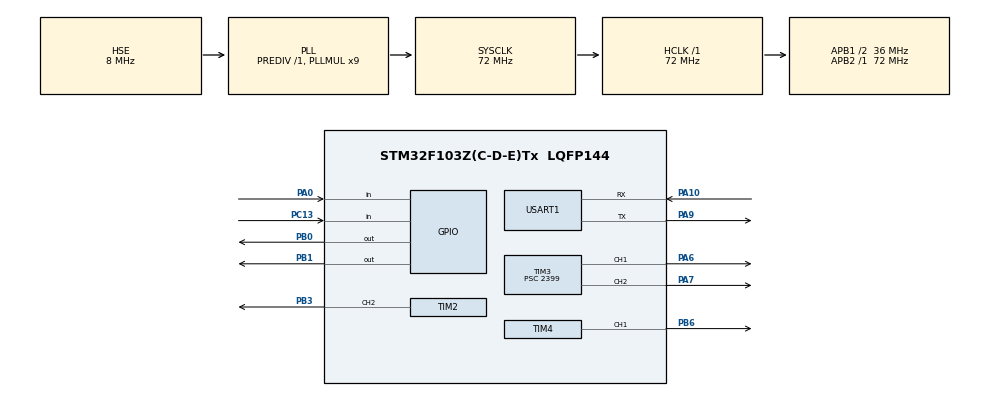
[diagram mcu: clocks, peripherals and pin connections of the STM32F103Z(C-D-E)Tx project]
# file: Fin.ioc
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Mcu.Family=STM32F1
Mcu.Name=STM32F103Z(C-D-E)Tx
Mcu.Package=LQFP144
NVIC.PriorityGroup=NVIC_PRIORITYGROUP_4
NVIC.TIM2_IRQn=true\:0\:0\:false\:false\:true\:true\:true\:true
NVIC.TIM3_IRQn=true\:0\:0\:false\:false\:true\:true\:true\:true
NVIC.TIM4_IRQn=true\:0\:0\:false\:false\:true\:true\:true\:true
OSC_IN.Mode=HSE-External-Oscillator
OSC_IN.Signal=RCC_OSC_IN
OSC_OUT.Mode=HSE-External-Oscillator
OSC_OUT.Signal=RCC_OSC_OUT
PA0-WKUP.GPIO_PuPd=GPIO_PULLDOWN
PA0-WKUP.Signal=GPIO_Input
PA10.Mode=Asynchronous
PA10.Signal=USART1_RX
PA13.Mode=Serial_Wire
PA13.Signal=SYS_JTMS-SWDIO
PA14.Mode=Serial_Wire
PA14.Signal=SYS_JTCK-SWCLK
PA6.Signal=S_TIM3_CH1
PA7.Signal=S_TIM3_CH2
PA9.Mode=Asynchronous
PA9.Signal=USART1_TX
PB0.Signal=GPIO_Output
PB1.Signal=GPIO_Output
PB3.Signal=S_TIM2_CH2
PB6.Signal=S_TIM4_CH1
PC13-TAMPER-RTC.GPIO_PuPd=GPIO_PULLDOWN
PC13-TAMPER-RTC.Signal=GPIO_Input
ProjectManager.HeapSize=0x200
ProjectManager.StackSize=0x400
ProjectManager.TargetToolchain=MDK-ARM V5.32
RCC.AHBFreq_Value=72000000
RCC.APB1CLKDivider=RCC_HCLK_DIV2
RCC.APB1Freq_Value=36000000
RCC.APB1TimFreq_Value=72000000
RCC.APB2Freq_Value=72000000
RCC.APB2TimFreq_Value=72000000
RCC.HCLKFreq_Value=72000000
RCC.PLLMUL=RCC_PLL_MUL9
RCC.PLLSourceVirtual=RCC_PLLSOURCE_HSE
RCC.SYSCLKFreq_VALUE=72000000
RCC.SYSCLKSource=RCC_SYSCLKSOURCE_PLLCLK
RCC.USBFreq_Value=72000000
SH.S_TIM2_CH2.0=TIM2_CH2,Output Compare2 CH2
SH.S_TIM3_CH1.0=TIM3_CH1,PWM Generation1 CH1
SH.S_TIM3_CH2.0=TIM3_CH2,PWM Generation2 CH2
SH.S_TIM4_CH1.0=TIM4_CH1,Output Compare1 CH1
TIM2.Channel-Output\ Compare2\ CH2=TIM_CHANNEL_2
TIM2.Period=1999
TIM2.Prescaler=7199
TIM3.Channel-PWM\ Generation1\ CH1=TIM_CHANNEL_1
TIM3.Channel-PWM\ Generation2\ CH2=TIM_CHANNEL_2
TIM3.Period=999
TIM3.Prescaler=2399
TIM4.Channel-Output\ Compare1\ CH1=TIM_CHANNEL_1
TIM4.Period=9999
TIM4.Prescaler=7199
USART1.VirtualMode=VM_ASYNC
VP_TIM2_VS_ClockSourceINT.Mode=Internal
VP_TIM3_VS_ClockSourceINT.Mode=Internal
VP_TIM4_VS_ClockSourceINT.Mode=Internal
board=custom

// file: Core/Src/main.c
/* USER CODE BEGIN Header */
/**
  ******************************************************************************
  * @file           : main.c
  * @brief          : Main program body
  ******************************************************************************
  * @attention
  *
  * Copyright (c) 2024 STMicroelectronics.
  * All rights reserved.
  *
  * This software is licensed under terms that can be found in the LICENSE file
  * in the root directory of this software component.
  * If no LICENSE file comes with this software, it is provided AS-IS.
  *
  ******************************************************************************
  */
/* USER CODE END Header */
#include "main.h"
#include "tim.h"
#include "usart.h"
#include "gpio.h"

void SystemClock_Config(void);
/* USER CODE BEGIN PFP */
void HAL_TIM_PeriodElapsedCallback(TIM_HandleTypeDef* hitm){
	HAL_GPIO_TogglePin(GPIOB,GPIO_PIN_0);
	HAL_GPIO_TogglePin(GPIOB,GPIO_PIN_1);

}
/* USER CODE END PFP */

int main(void)
{

  /* USER CODE BEGIN 1 */
uint16_t pwm=200;
uint16_t pwmpinlv=10000;
uint8_t pwmr=0;
uint8_t zt=0;//0按键 1电脑
  /* USER CODE END 1 */

  /* MCU Configuration--------------------------------------------------------*/

  /* Reset of all peripherals, Initializes the Flash interface and the Systick. */
  HAL_Init();

  /* USER CODE BEGIN Init */

  MX_GPIO_Init();
  MX_TIM3_Init();
  HAL_TIM_PWM_Start(&htim3,TIM_CHANNEL_1);
  HAL_TIM_PWM_Start(&htim3,TIM_CHANNEL_2);
  __HAL_TIM_SET_COMPARE(&htim3,TIM_CHANNEL_1,300);//???30
  __HAL_TIM_SET_COMPARE(&htim3,TIM_CHANNEL_2,700);//???70
  /* USER CODE END Init */

  /* Configure the system clock */
  SystemClock_Config();

  /* USER CODE BEGIN SysInit */
  __HAL_TIM_SET_PRESCALER(&htim3, 7200 - 1);
		  __HAL_TIM_SetCompare(&htim3, TIM_CHANNEL_1, pwm);
			__HAL_TIM_SetCompare(&htim3, TIM_CHANNEL_2, pwm);
  /* USER CODE END SysInit */

  /* Initialize all configured peripherals */
  MX_GPIO_Init();
  MX_TIM2_Init();
  MX_TIM3_Init();
  MX_TIM4_Init();
  MX_USART1_UART_Init();
  /* USER CODE BEGIN 2 */
HAL_TIM_Base_Start_IT(&htim2);
HAL_TIM_Base_Start_IT(&htim4);
  /* USER CODE END 2 */

  /* Infinite loop */
  /* USER CODE BEGIN WHILE */
  while (1)
  {
	  if(HAL_GPIO_ReadPin(GPIOA,GPIO_PIN_0)==GPIO_PIN_SET){
		pwm+=200;
		  __HAL_TIM_SetCompare(&htim3, TIM_CHANNEL_1, pwm);
			__HAL_TIM_SetCompare(&htim3, TIM_CHANNEL_2, pwm);

	  }

	  if(HAL_GPIO_ReadPin(GPIOC,GPIO_PIN_13)==GPIO_PIN_SET){
		pwmpinlv-=2000;
		  //__HAL_TIM_SET_PRESCALER(&htim3, 10);
		  __HAL_TIM_SET_PRESCALER(&htim3, 7200 - 1);

		  HAL_Delay(2000);

		  if(HAL_GPIO_ReadPin(GPIOA,GPIO_PIN_0)==GPIO_PIN_SET)
			zt=~zt;
	  }
	  if(HAL_GPIO_ReadPin(GPIOA,GPIO_PIN_0)==GPIO_PIN_SET){
		HAL_UART_Transmit(&huart1,(uint8_t *)&pwmpinlv,sizeof(pwm),HAL_MAX_DELAY);

	  HAL_UART_Receive(&huart1,(uint8_t *)&pwm,sizeof(pwm),HAL_MAX_DELAY);
		HAL_UART_Receive(&huart1,(uint8_t *)&pwm,sizeof(pwm),HAL_MAX_DELAY);

	  }
	  HAL_UART_Transmit(&huart1,(uint8_t *)&pwm,sizeof(pwm),HAL_MAX_DELAY);
	  HAL_UART_Transmit(&huart1,(uint8_t *)&pwmpinlv,sizeof(pwm),HAL_MAX_DELAY);

		  //pwmr*=10;
		  __HAL_TIM_SetCompare(&htim3, TIM_CHANNEL_1, pwm);

		  HAL_Delay(1000);
    /* USER CODE END WHILE */

    /* USER CODE BEGIN 3 */
	  /*HAL_GPIO_WritePin (GPIOB,GPIO_PIN_0,GPIO_PIN_RESET);
  HAL_Delay(1000);
  HAL_GPIO_WritePin (GPIOB,GPIO_PIN_0,GPIO_PIN_SET);
  HAL_Delay(1000);
  HAL_GPIO_WritePin (GPIOB,GPIO_PIN_1,GPIO_PIN_RESET);
  HAL_Delay(1000);
  HAL_GPIO_WritePin (GPIOB,GPIO_PIN_1,GPIO_PIN_SET);
  HAL_Delay(1000);*/
  }
  /* USER CODE END 3 */
}

void SystemClock_Config(void)
{
  RCC_OscInitTypeDef RCC_OscInitStruct = {0};
  RCC_ClkInitTypeDef RCC_ClkInitStruct = {0};

  /** Initializes the RCC Oscillators according to the specified parameters
  * in the RCC_OscInitTypeDef structure.
  */
  RCC_OscInitStruct.OscillatorType = RCC_OSCILLATORTYPE_HSE;
  RCC_OscInitStruct.HSEState = RCC_HSE_ON;
  RCC_OscInitStruct.HSEPredivValue = RCC_HSE_PREDIV_DIV1;
  RCC_OscInitStruct.HSIState = RCC_HSI_ON;
  RCC_OscInitStruct.PLL.PLLState = RCC_PLL_ON;
  RCC_OscInitStruct.PLL.PLLSource = RCC_PLLSOURCE_HSE;
  RCC_OscInitStruct.PLL.PLLMUL = RCC_PLL_MUL9;
  if (HAL_RCC_OscConfig(&RCC_OscInitStruct) != HAL_OK)
  {
    Error_Handler();
  }

  /** Initializes the CPU, AHB and APB buses clocks
  */
  RCC_ClkInitStruct.ClockType = RCC_CLOCKTYPE_HCLK|RCC_CLOCKTYPE_SYSCLK
                              |RCC_CLOCKTYPE_PCLK1|RCC_CLOCKTYPE_PCLK2;
  RCC_ClkInitStruct.SYSCLKSource = RCC_SYSCLKSOURCE_PLLCLK;
  RCC_ClkInitStruct.AHBCLKDivider = RCC_SYSCLK_DIV1;
  RCC_ClkInitStruct.APB1CLKDivider = RCC_HCLK_DIV2;
  RCC_ClkInitStruct.APB2CLKDivider = RCC_HCLK_DIV1;

  if (HAL_RCC_ClockConfig(&RCC_ClkInitStruct, FLASH_LATENCY_2) != HAL_OK)
  {
    Error_Handler();
  }
}

void Error_Handler(void)
{
  __disable_irq();
  while (1)
  {
  }
}
